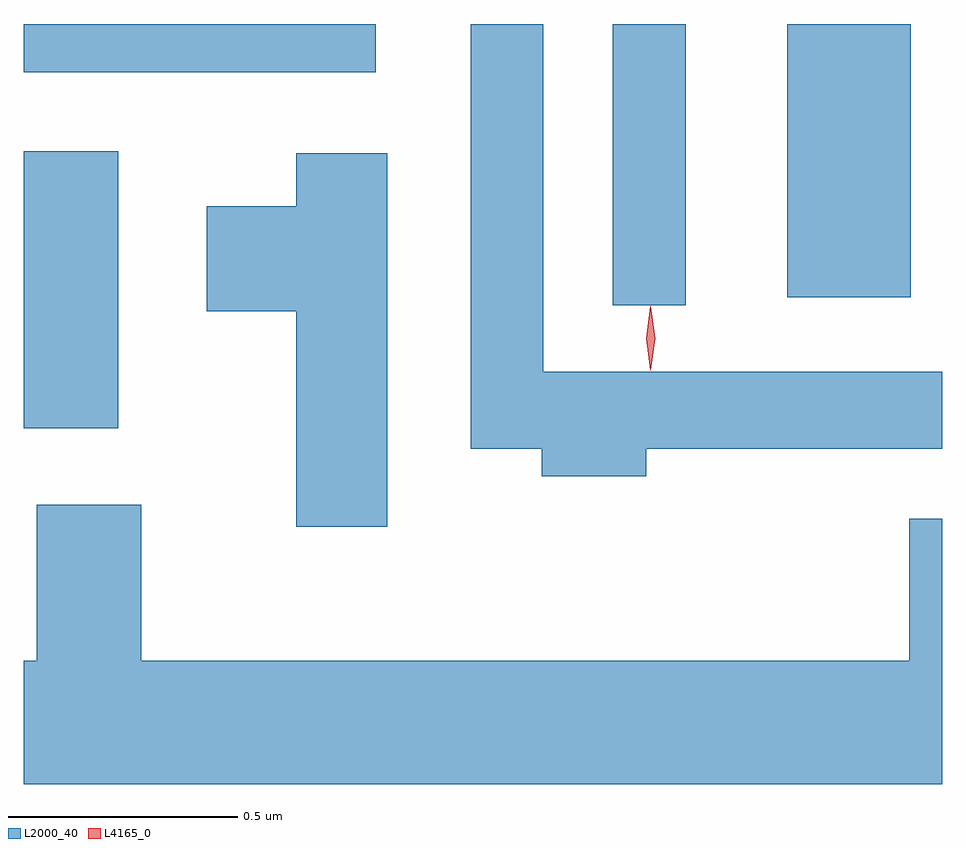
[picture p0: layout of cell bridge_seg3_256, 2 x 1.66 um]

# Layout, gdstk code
import gdstk
lib = gdstk.Library(unit=1e-6, precision=1e-09)
def R(c, l, rs):  # rectangles x0, y0, x1, y1
    for r in rs: c.add(gdstk.rectangle(r[:2], r[2:], *l))
def P(c, l, *ps):  # polygons
    for p in ps: c.add(gdstk.Polygon(p, *l))
L2000_40 = (2000, 40)
L4165_0 = (4165, 0)

bridge_seg3_256 = lib.new_cell('bridge_seg3_256')
R(bridge_seg3_256, L2000_40, [(986.893,1144.551,987.099,1145.154), (988.176,1144.818,988.334,1145.431), (988.556,1144.836,988.824,1145.431), (986.893,1145.326,987.659,1145.431)])
P(bridge_seg3_256, L2000_40, [(988.249,1144.506),(988.893,1144.506),(988.893,1144.674),(988.024,1144.674),(988.024,1145.431),(987.866,1145.431),(987.866,1144.506),(988.021,1144.506),(988.021,1144.446),(988.249,1144.446)],
  [(987.684,1145.149),(987.486,1145.149),(987.486,1145.034),(987.291,1145.034),(987.291,1144.806),(987.486,1144.806),(987.486,1144.336),(987.684,1144.336)],
  [(988.893,1144.354),(988.821,1144.354),(988.821,1144.044),(987.149,1144.044),(987.149,1144.384),(986.921,1144.384),(986.921,1144.044),(986.893,1144.044),(986.893,1143.776),(988.893,1143.776)])
P(bridge_seg3_256, L4165_0, [(988.258,1144.679),(988.257,1144.68),(988.248,1144.746),(988.257,1144.812),(988.258,1144.813),(988.258,1144.812),(988.268,1144.746),(988.258,1144.68)],
  [(988.257,1144.677),(988.248,1144.747),(988.257,1144.816),(988.258,1144.816),(988.258,1144.816),(988.268,1144.747),(988.258,1144.677),(988.258,1144.677)])

lib.write_gds('bridge_seg3_256.gds')
